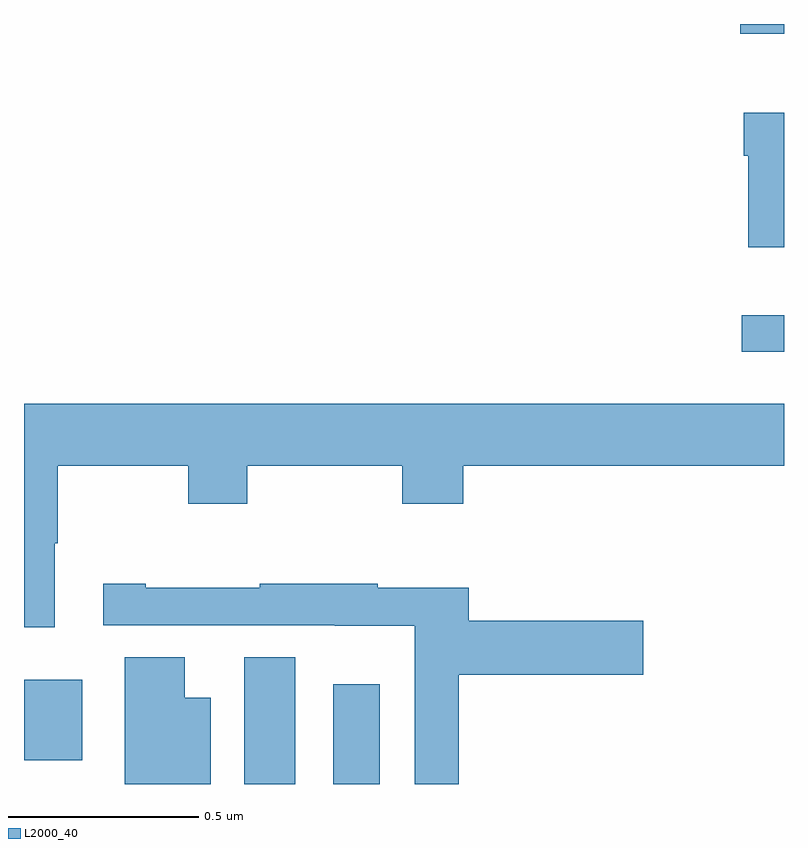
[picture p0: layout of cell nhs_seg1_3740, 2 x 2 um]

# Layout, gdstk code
import gdstk
lib = gdstk.Library(unit=1e-6, precision=1e-09)
def R(c, l, rs):  # rectangles x0, y0, x1, y1
    for r in rs: c.add(gdstk.rectangle(r[:2], r[2:], *l))
def P(c, l, *ps):  # polygons
    for p in ps: c.add(gdstk.Polygon(p, *l))
L2000_40 = (2000, 40)

nhs_seg1_3740 = lib.new_cell('nhs_seg1_3740')
R(nhs_seg1_3740, L2000_40, [(157.58,580.199,157.714,580.532), (157.814,580.199,157.936,580.462), (157,580.262,157.153,580.474), (158.889,581.336,159,581.433), (158.885,582.174,159,582.199)])
P(nhs_seg1_3740, L2000_40, [(159,581.965),(158.894,581.965),(158.894,581.852),(158.906,581.852),(158.906,581.612),(159,581.612)],
  [(157.081,580.832),(157.089,580.832),(157.089,581.036),(157.432,581.036),(157.432,580.937),(157.587,580.937),(157.587,581.036),(157.996,581.036),(157.996,580.937),(158.156,580.937),(158.156,581.036),(159,581.036),(159,581.2),(157,581.2),(157,580.611),(157.081,580.611)],
  [(158.144,580.487),(158.629,580.487),(158.629,580.629),(158.171,580.629),(158.171,580.716),(157.931,580.716),(157.931,580.726),(157.621,580.726),(157.621,580.716),(157.321,580.716),(157.321,580.726),(157.209,580.726),(157.209,580.617),(157.818,580.617),(157.818,580.616),(158.028,580.616),(158.028,580.199),(158.144,580.199)],
  [(157.492,580.426),(157.423,580.426),(157.423,580.532),(157.265,580.532),(157.265,580.199),(157.492,580.199)])

lib.write_gds('nhs_seg1_3740.gds')
